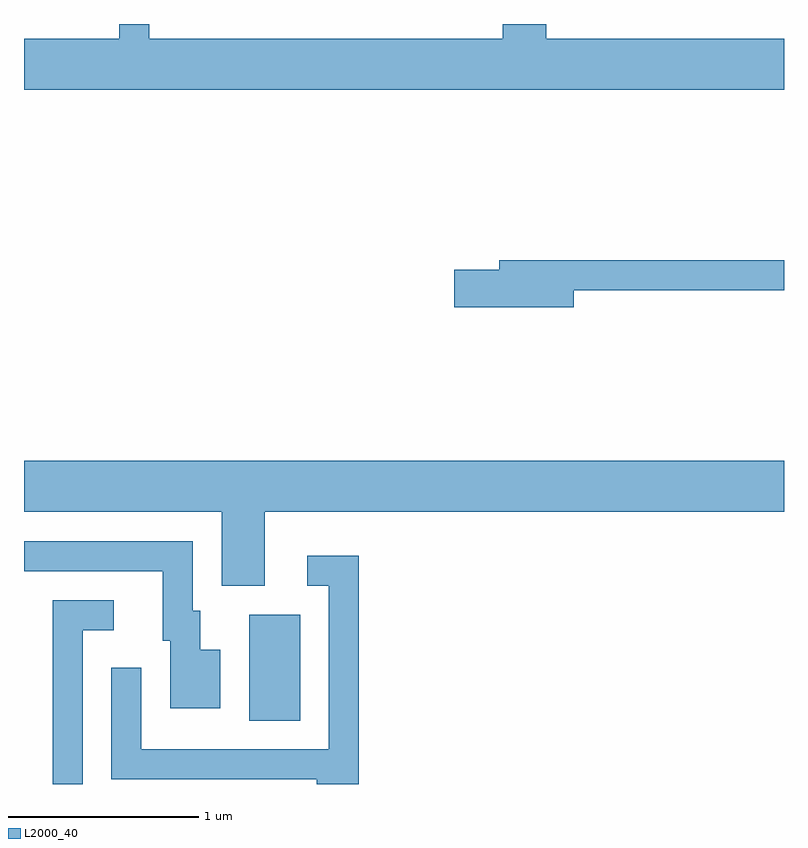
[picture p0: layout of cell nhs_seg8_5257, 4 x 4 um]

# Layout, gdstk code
import gdstk
lib = gdstk.Library(unit=1e-6, precision=1e-09)
def R(c, l, rs):  # rectangles x0, y0, x1, y1
    for r in rs: c.add(gdstk.rectangle(r[:2], r[2:], *l))
def P(c, l, *ps):  # polygons
    for p in ps: c.add(gdstk.Polygon(p, *l))
L2000_40 = (2000, 40)

nhs_seg8_5257 = lib.new_cell('nhs_seg8_5257')
R(nhs_seg8_5257, L2000_40, [(344.796,1808.676,345.064,1809.234)])
P(nhs_seg8_5257, L2000_40, [(347.611,1812.264),(346.359,1812.264),(346.359,1812.342),(346.131,1812.342),(346.131,1812.264),(344.269,1812.264),(344.269,1812.342),(344.111,1812.342),(344.111,1812.264),(343.611,1812.264),(343.611,1811.996),(347.611,1811.996)],
  [(346.504,1810.941),(347.611,1810.941),(347.611,1811.099),(346.111,1811.099),(346.111,1811.049),(345.876,1811.049),(345.876,1810.851),(346.504,1810.851)],
  [(344.879,1809.776),(347.611,1809.776),(347.611,1810.044),(343.611,1810.044),(343.611,1809.776),(344.651,1809.776),(344.651,1809.386),(344.879,1809.386)],
  [(344.644,1809.049),(344.539,1809.049),(344.539,1809.254),(344.499,1809.254),(344.499,1809.619),(343.611,1809.619),(343.611,1809.461),(344.341,1809.461),(344.341,1809.096),(344.381,1809.096),(344.381,1808.741),(344.644,1808.741)],
  [(345.374,1809.544),(345.103,1809.544),(345.103,1809.386),(345.216,1809.386),(345.216,1808.524),(344.229,1808.524),(344.229,1808.953),(344.071,1808.953),(344.071,1808.366),(345.151,1808.366),(345.151,1808.342),(345.374,1808.342)],
  [(343.919,1809.151),(344.083,1809.151),(344.083,1809.309),(343.761,1809.309),(343.761,1808.342),(343.919,1808.342)])

lib.write_gds('nhs_seg8_5257.gds')
